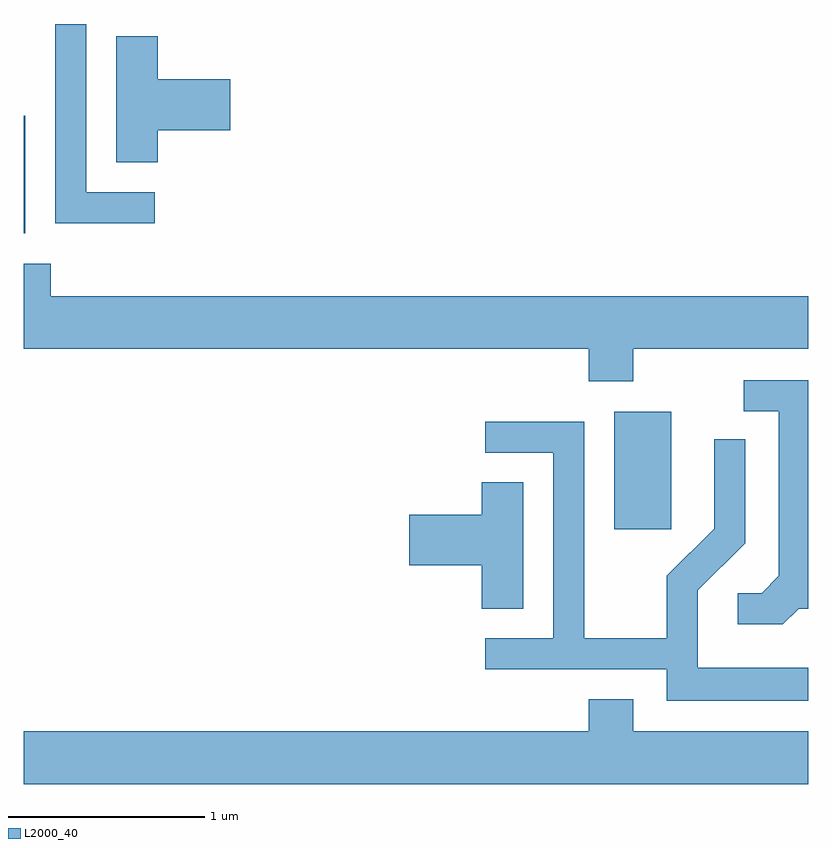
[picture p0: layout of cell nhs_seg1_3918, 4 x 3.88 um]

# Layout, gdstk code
import gdstk
lib = gdstk.Library(unit=1e-6, precision=1e-09)
def R(c, l, rs):  # rectangles x0, y0, x1, y1
    for r in rs: c.add(gdstk.rectangle(r[:2], r[2:], *l))
def P(c, l, *ps):  # polygons
    for p in ps: c.add(gdstk.Polygon(p, *l))
L2000_40 = (2000, 40)

nhs_seg1_3918 = lib.new_cell('nhs_seg1_3918')
R(nhs_seg1_3918, L2000_40, [(306.621,863.136,306.914,863.734), (303.611,864.646,303.619,865.244)])
P(nhs_seg1_3918, L2000_40, [(304.278,864.854),(303.929,864.854),(303.929,865.712),(303.771,865.712),(303.771,864.696),(304.278,864.696)],
  [(304.294,865.171),(304.664,865.171),(304.664,865.429),(304.294,865.429),(304.294,865.649),(304.081,865.649),(304.081,865.006),(304.294,865.006)],
  [(306.719,864.056),(307.611,864.056),(307.611,864.324),(303.749,864.324),(303.749,864.489),(303.611,864.489),(303.611,864.056),(306.491,864.056),(306.491,863.891),(306.719,863.891)],
  [(307.562,862.731),(307.611,862.731),(307.611,863.894),(307.283,863.894),(307.283,863.736),(307.461,863.736),(307.461,862.897),(307.374,862.809),(307.253,862.809),(307.253,862.651),(307.482,862.651)],
  [(307.611,862.429),(307.049,862.429),(307.049,862.824),(307.289,863.064),(307.289,863.593),(307.131,863.593),(307.131,863.137),(306.891,862.897),(306.891,862.579),(306.469,862.579),(306.469,863.684),(305.963,863.684),(305.963,863.526),(306.311,863.526),(306.311,862.579),(305.963,862.579),(305.963,862.421),(306.891,862.421),(306.891,862.261),(307.611,862.261)],
  [(306.159,863.374),(305.946,863.374),(305.946,863.209),(305.576,863.209),(305.576,862.951),(305.946,862.951),(305.946,862.731),(306.159,862.731)],
  [(307.611,862.104),(306.719,862.104),(306.719,862.269),(306.491,862.269),(306.491,862.104),(303.611,862.104),(303.611,861.836),(307.611,861.836)])

lib.write_gds('nhs_seg1_3918.gds')
